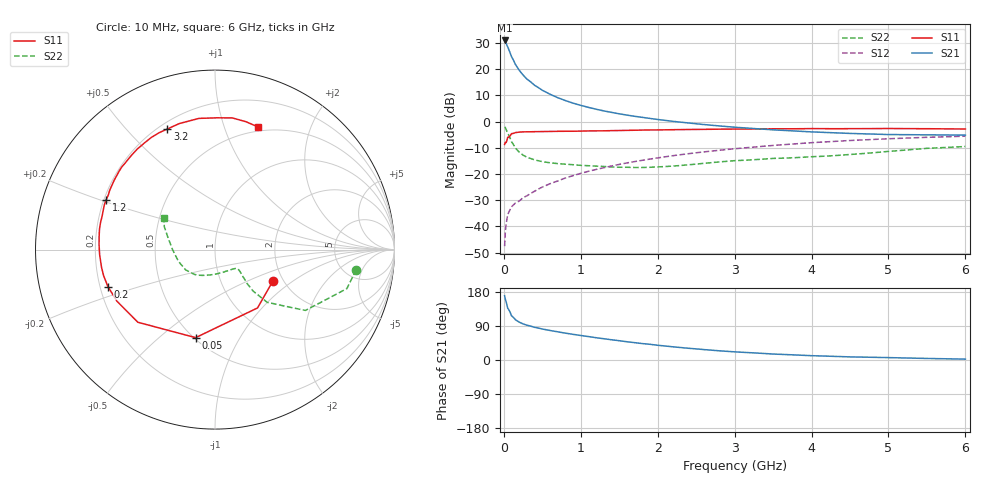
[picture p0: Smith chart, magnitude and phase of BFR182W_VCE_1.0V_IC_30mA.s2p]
! Infineon Technologies  Discrete & RF Semiconductors
! BFR182W
! VCE =  1.0 V,  IC =  30 mA
! Common Emitter S-Parameters:  Jan 2017
# GHz  S  MA  R  50
!  f  S11  S21  S12  S22
! GHz  MAG  ANG  MAG  ANG  MAG  ANG  MAG  ANG
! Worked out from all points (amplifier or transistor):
!   77 points, 10 MHz to 6 GHz, reference 50 ohm
!   highest |S21| = 31.0 dB at 10 MHz (marker M1)
!   |S21| within 3 dB of that: start of sweep to 57.9 MHz
!   unconditionally stable (mu >= 1): start of sweep to 11 MHz; 239.4 MHz to end of sweep
!   at 130 MHz: K = 0.72, MSG = 27.4 dB, |S12| = -31.6 dB
!   at 2.2 GHz: K = 1.16, MAG = 4.1 dB, |S12| = -13.0 dB
!   at 6 GHz: K = 1.10, MAG = -1.7 dB, |S12| = -5.6 dB
!   S11 on the Smith chart (normalised r, x): 10 MHz: 1.76, -0.72; 50 MHz: 0.51, -0.67; 200 MHz: 0.23, -0.16; 1.2 GHz: 0.21, +0.21; 3.2 GHz: 0.23, +0.65; 6 GHz: 0.45, +1.30
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0.01  0.3668 -28.9  35.43 169.6  0.0042 76.9  0.7942 -8.2
0.02  0.4022 -53.9  34.32 159.9  0.0081 73.8  0.7662 -16.5
0.05  0.5023 -102.4  26.73 136.8  0.0167 59.4  0.6074 -33.9
0.1  0.5904 -136.7  17.37 116.5  0.0236 50.6  0.4136 -45.3
0.15  0.6173 -152.2  12.41 106.3  0.0279 50.1  0.3142 -47.4
0.2  0.6311 -160.9  9.555 99.9  0.0305 52.5  0.2615 -46.6
0.25  0.6374 -166.8  7.757 95.2  0.0354 54.9  0.2297 -44.8
0.3  0.6399 -171.2  6.504 91.8  0.0384 57.8  0.2089 -43.6
0.4  0.6435 -177.6  4.939 86.2  0.047 61.1  0.1861 -41.3
0.5  0.6466 177.5  3.972 81.8  0.0564 64.1  0.1727 -40.4
0.6  0.6497 173.5  3.335 77.9  0.0653 66.2  0.164 -40.8
0.7  0.6534 170.1  2.869 74.4  0.0737 67.3  0.1581 -41.3
0.9  0.6558 163.6  2.251 67.7  0.0932 68.1  0.1506 -45.1
1.1  0.6649 158.1  1.871 61.8  0.1128 68.4  0.1442 -50.3
1.2  0.6669 155.5  1.725 58.8  0.1224 68.2  0.1417 -53.1
1.6  0.6815 145.6  1.333 48.2  0.163 66.3  0.1347 -68.9
2.1  0.6977 134.0  1.055 36.9  0.2136 62.4  0.1389 -93.8
3.1  0.7217 113.5  0.765 20.4  0.313 51.9  0.1826 -133.3
3.2  0.7224 111.6  0.748 19.3  0.3224 50.8  0.1858 -136.5
4.1  0.735 95.4  0.629 10.8  0.4043 40.3  0.2167 -165.9
5.1  0.7379 81.3  0.566 5.9  0.4773 28.4  0.2774 163.5
6  0.7241 70.9  0.553 2.3  0.5277 18.3  0.3351 148.5
